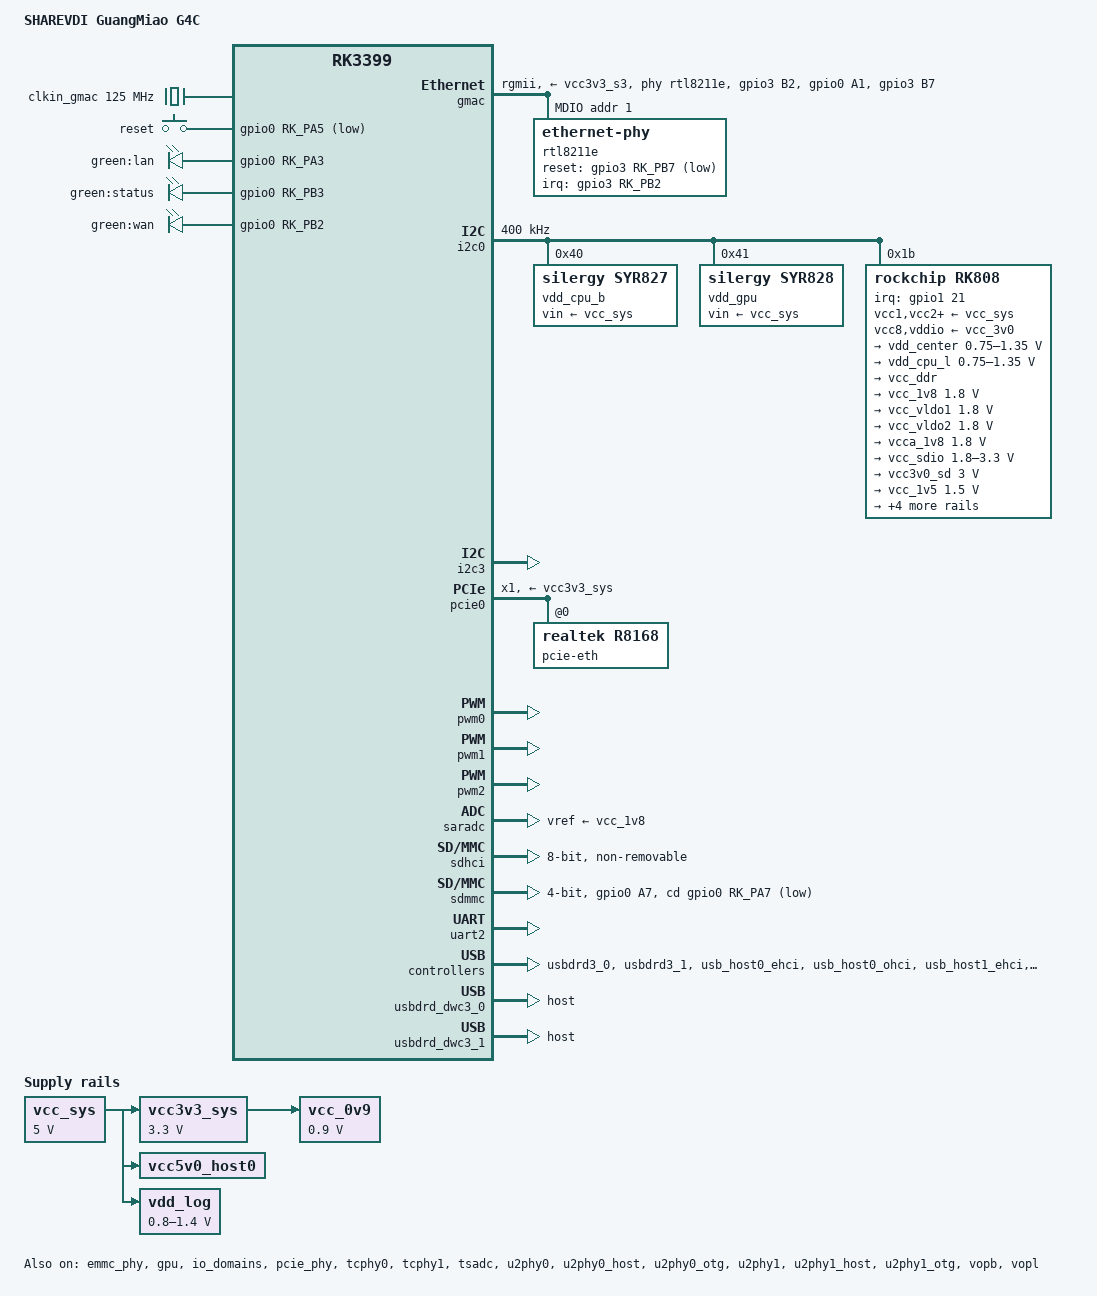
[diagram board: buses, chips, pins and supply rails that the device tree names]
// SPDX-License-Identifier: (GPL-2.0+ OR MIT)

/dts-v1/;
#include <dt-bindings/input/linux-event-codes.h>
#include "rk3399.dtsi"
#include "rk3399-opp.dtsi"

/ {
	model = "SHAREVDI GuangMiao G4C";
	compatible = "sharevdi,guangmiao-g4c", "rockchip,rk3399";

	/delete-node/ display-subsystem;

	aliases {
		led-boot = &status_led;
		led-failsafe = &status_led;
		led-running = &status_led;
		led-upgrade = &status_led;
	};

	chosen {
		stdout-path = "serial2:1500000n8";
	};

	clkin_gmac: external-gmac-clock {
		compatible = "fixed-clock";
		clock-frequency = <125000000>;
		clock-output-names = "clkin_gmac";
		#clock-cells = <0>;
	};

	vcc_sys: vcc-sys {
		compatible = "regulator-fixed";
		regulator-always-on;
		regulator-boot-on;
		regulator-min-microvolt = <5000000>;
		regulator-max-microvolt = <5000000>;
		regulator-name = "vcc_sys";
	};

	vcc3v3_sys: vcc3v3-sys {
		compatible = "regulator-fixed";
		regulator-always-on;
		regulator-boot-on;
		regulator-min-microvolt = <3300000>;
		regulator-max-microvolt = <3300000>;
		regulator-name = "vcc3v3_sys";
		vin-supply = <&vcc_sys>;
	};

	vcc_0v9: vcc-0v9 {
		compatible = "regulator-fixed";
		regulator-always-on;
		regulator-boot-on;
		regulator-min-microvolt = <900000>;
		regulator-max-microvolt = <900000>;
		regulator-name = "vcc_0v9";
		vin-supply = <&vcc3v3_sys>;
	};

	vcc5v0_host0: vcc5v0-host0 {
		compatible = "regulator-fixed";
		regulator-always-on;
		regulator-boot-on;
		regulator-name = "vcc5v0_host0";
		vin-supply = <&vcc_sys>;
	};

	vdd_log: vdd-log {
		compatible = "pwm-regulator";
		pwms = <&pwm2 0 25000 1>;
		regulator-always-on;
		regulator-boot-on;
		regulator-min-microvolt = <800000>;
		regulator-max-microvolt = <1400000>;
		regulator-name = "vdd_log";
		vin-supply = <&vcc_sys>;
	};

	gpio-keys {
		compatible = "gpio-keys";
		pinctrl-names = "default";
		pinctrl-0 = <&reset_button_pin>;

		reset {
			label = "reset";
			debounce-interval = <100>;
			gpios = <&gpio0 RK_PA5 GPIO_ACTIVE_LOW>;
			linux,code = <KEY_RESTART>;
		};
	};

	gpio-leds {
		compatible = "gpio-leds";
		pinctrl-names = "default";
		pinctrl-0 = <&lan_led_pin>, <&status_led_pin>, <&wan_led_pin>;

		lan_led: led-lan {
			gpios = <&gpio0 RK_PA3 GPIO_ACTIVE_HIGH>;
			label = "green:lan";
		};

		status_led: led-status {
			gpios = <&gpio0 RK_PB3 GPIO_ACTIVE_HIGH>;
			label = "green:status";
		};

		wan_led: led-wan {
			gpios = <&gpio0 RK_PB2 GPIO_ACTIVE_HIGH>;
			label = "green:wan";
		};
	};
};

&cpu_b0 {
	cpu-supply = <&vdd_cpu_b>;
};

&cpu_b1 {
	cpu-supply = <&vdd_cpu_b>;
};

&cpu_l0 {
	cpu-supply = <&vdd_cpu_l>;
};

&cpu_l1 {
	cpu-supply = <&vdd_cpu_l>;
};

&cpu_l2 {
	cpu-supply = <&vdd_cpu_l>;
};

&cpu_l3 {
	cpu-supply = <&vdd_cpu_l>;
};

&emmc_phy {
	status = "okay";
};

&gmac {
	assigned-clock-parents = <&clkin_gmac>;
	assigned-clocks = <&cru SCLK_RMII_SRC>;
	clock_in_out = "input";
	pinctrl-names = "default";
	pinctrl-0 = <&rgmii_pins>, <&phy_intb>, <&phy_pmeb>, <&phy_rstb>;
	phy-handle = <&rtl8211e>;
	phy-mode = "rgmii";
	phy-supply = <&vcc3v3_s3>;
	tx_delay = <0x28>;
	rx_delay = <0x11>;
	status = "okay";

	mdio {
		compatible = "snps,dwmac-mdio";
		#address-cells = <1>;
		#size-cells = <0>;

		rtl8211e: ethernet-phy@1 {
			reg = <1>;
			interrupt-parent = <&gpio3>;
			interrupts = <RK_PB2 IRQ_TYPE_LEVEL_LOW>;
			reset-assert-us = <10000>;
			reset-deassert-us = <30000>;
			reset-gpios = <&gpio3 RK_PB7 GPIO_ACTIVE_LOW>;
		};
	};
};

&gpu {
	mali-supply = <&vdd_gpu>;
	status = "okay";
};

&i2c0 {
	clock-frequency = <400000>;
	i2c-scl-rising-time-ns = <160>;
	i2c-scl-falling-time-ns = <30>;
	status = "okay";

	vdd_cpu_b: regulator@40 {
		compatible = "silergy,syr827";
		reg = <0x40>;
		fcs,suspend-voltage-selector = <1>;
		pinctrl-names = "default";
		pinctrl-0 = <&cpu_b_sleep>;
		regulator-always-on;
		regulator-boot-on;
		regulator-min-microvolt = <712500>;
		regulator-max-microvolt = <1500000>;
		regulator-name = "vdd_cpu_b";
		regulator-ramp-delay = <1000>;
		vin-supply = <&vcc_sys>;

		regulator-state-mem {
			regulator-off-in-suspend;
		};
	};

	vdd_gpu: regulator@41 {
		compatible = "silergy,syr828";
		reg = <0x41>;
		fcs,suspend-voltage-selector = <1>;
		pinctrl-names = "default";
		pinctrl-0 = <&gpu_sleep>;
		regulator-always-on;
		regulator-boot-on;
		regulator-min-microvolt = <712500>;
		regulator-max-microvolt = <1500000>;
		regulator-name = "vdd_gpu";
		regulator-ramp-delay = <1000>;
		vin-supply = <&vcc_sys>;

		regulator-state-mem {
			regulator-off-in-suspend;
		};
	};

	rk808: pmic@1b {
		compatible = "rockchip,rk808";
		reg = <0x1b>;
		clock-output-names = "rtc_clko_soc", "rtc_clko_wifi";
		#clock-cells = <1>;
		interrupt-parent = <&gpio1>;
		interrupts = <21 IRQ_TYPE_LEVEL_LOW>;
		pinctrl-names = "default";
		pinctrl-0 = <&pmic_int_l>;
		rockchip,system-power-controller;
		wakeup-source;

		vcc1-supply = <&vcc_sys>;
		vcc2-supply = <&vcc_sys>;
		vcc3-supply = <&vcc_sys>;
		vcc4-supply = <&vcc_sys>;
		vcc6-supply = <&vcc_sys>;
		vcc7-supply = <&vcc_sys>;
		vcc8-supply = <&vcc_3v0>;
		vcc9-supply = <&vcc_sys>;
		vcc10-supply = <&vcc_sys>;
		vcc11-supply = <&vcc_sys>;
		vcc12-supply = <&vcc_sys>;
		vddio-supply = <&vcc_3v0>;

		regulators {
			vdd_center: DCDC_REG1 {
				regulator-always-on;
				regulator-boot-on;
				regulator-min-microvolt = <750000>;
				regulator-max-microvolt = <1350000>;
				regulator-name = "vdd_center";
				regulator-ramp-delay = <6001>;

				regulator-state-mem {
					regulator-off-in-suspend;
				};
			};

			vdd_cpu_l: DCDC_REG2 {
				regulator-always-on;
				regulator-boot-on;
				regulator-min-microvolt = <750000>;
				regulator-max-microvolt = <1350000>;
				regulator-name = "vdd_cpu_l";
				regulator-ramp-delay = <6001>;

				regulator-state-mem {
					regulator-off-in-suspend;
				};
			};

			vcc_ddr: DCDC_REG3 {
				regulator-always-on;
				regulator-boot-on;
				regulator-name = "vcc_ddr";

				regulator-state-mem {
					regulator-on-in-suspend;
				};
			};

			vcc_1v8: DCDC_REG4 {
				regulator-always-on;
				regulator-boot-on;
				regulator-min-microvolt = <1800000>;
				regulator-max-microvolt = <1800000>;
				regulator-name = "vcc_1v8";

				regulator-state-mem {
					regulator-on-in-suspend;
					regulator-suspend-microvolt = <1800000>;
				};
			};

			vcc_vldo1: LDO_REG1 {
				regulator-always-on;
				regulator-boot-on;
				regulator-min-microvolt = <1800000>;
				regulator-max-microvolt = <1800000>;
				regulator-name = "vcc_vldo1";

				regulator-state-mem {
					regulator-off-in-suspend;
				};
			};

			vcc_vldo2: LDO_REG2 {
				regulator-always-on;
				regulator-boot-on;
				regulator-min-microvolt = <1800000>;
				regulator-max-microvolt = <1800000>;
				regulator-name = "vcc_vldo2";

				regulator-state-mem {
					regulator-off-in-suspend;
				};
			};

			vcca_1v8: LDO_REG3 {
				regulator-always-on;
				regulator-boot-on;
				regulator-min-microvolt = <1800000>;
				regulator-max-microvolt = <1800000>;
				regulator-name = "vcca_1v8";

				regulator-state-mem {
					regulator-on-in-suspend;
					regulator-suspend-microvolt = <1800000>;
				};
			};

			vcc_sdio: LDO_REG4 {
				regulator-always-on;
				regulator-boot-on;
				regulator-min-microvolt = <1800000>;
				regulator-max-microvolt = <3300000>;
				regulator-name = "vcc_sdio";

				regulator-state-mem {
					regulator-on-in-suspend;
					regulator-suspend-microvolt = <3300000>;
				};
			};

			vcc3v0_sd: LDO_REG5 {
				regulator-always-on;
				regulator-boot-on;
				regulator-min-microvolt = <3000000>;
				regulator-max-microvolt = <3000000>;
				regulator-name = "vcc3v0_sd";

				regulator-state-mem {
					regulator-on-in-suspend;
					regulator-suspend-microvolt = <3000000>;
				};
			};

			vcc_1v5: LDO_REG6 {
				regulator-always-on;
				regulator-boot-on;
				regulator-min-microvolt = <1500000>;
				regulator-max-microvolt = <1500000>;
				regulator-name = "vcc_1v5";

				regulator-state-mem {
					regulator-on-in-suspend;
					regulator-suspend-microvolt = <1500000>;
				};
			};

			vcca1v8_codec: LDO_REG7 {
				regulator-always-on;
				regulator-boot-on;
				regulator-min-microvolt = <1800000>;
				regulator-max-microvolt = <1800000>;
				regulator-name = "vcca1v8_codec";

				regulator-state-mem {
					regulator-off-in-suspend;
				};
			};

			vcc_3v0: LDO_REG8 {
				regulator-always-on;
				regulator-boot-on;
				regulator-min-microvolt = <3000000>;
				regulator-max-microvolt = <3000000>;
				regulator-name = "vcc_3v0";

				regulator-state-mem {
					regulator-on-in-suspend;
					regulator-suspend-microvolt = <3000000>;
				};
			};

			vcc3v3_s3: SWITCH_REG1 {
				regulator-always-on;
				regulator-boot-on;
				regulator-name = "vcc3v3_s3";

				regulator-state-mem {
					regulator-off-in-suspend;
				};
			};

			vcc3v3_s0: SWITCH_REG2 {
				regulator-always-on;
				regulator-boot-on;
				regulator-name = "vcc3v3_s0";

				regulator-state-mem {
					regulator-off-in-suspend;
				};
			};
		};
	};
};

&i2c3 {
	i2c-scl-rising-time-ns = <450>;
	i2c-scl-falling-time-ns = <15>;
	status = "okay";
};

&io_domains {
	bt656-supply = <&vcc_1v8>;
	audio-supply = <&vcca1v8_codec>;
	sdmmc-supply = <&vcc_sdio>;
	gpio1830-supply = <&vcc_3v0>;
	status = "okay";
};

&pcie_phy {
	assigned-clock-parents = <&cru SCLK_PCIEPHY_REF100M>;
	assigned-clock-rates = <100000000>;
	assigned-clocks = <&cru SCLK_PCIEPHY_REF>;
	status = "okay";
};

&pcie0 {
	ep-gpios = <&gpio4 RK_PD2 GPIO_ACTIVE_HIGH>;
	max-link-speed = <1>;
	num-lanes = <1>;
	pinctrl-names = "default";
	pinctrl-0 = <&pcie_clkreqnb_cpm>;
	vpcie0v9-supply = <&vcc_0v9>;
	vpcie1v8-supply = <&vcca_1v8>;
	vpcie3v3-supply = <&vcc3v3_sys>;
	status = "okay";

	pcie@0 {
		reg = <0x00000000 0 0 0 0>;
		#address-cells = <3>;
		#size-cells = <2>;

		pcie-eth@0,0 {
			compatible = "realtek,r8168";
			reg = <0x000000 0 0 0 0>;

			realtek,led-data = <0x87>;
		};
	};
};

&pinctrl {
	gpio-leds {
		lan_led_pin: lan-led-pin {
			rockchip,pins = <0 RK_PA3 RK_FUNC_GPIO &pcfg_pull_none>;
		};

		status_led_pin: status-led-pin {
			rockchip,pins = <0 RK_PB3 RK_FUNC_GPIO &pcfg_pull_none>;
		};

		wan_led_pin: wan-led-pin {
			rockchip,pins = <0 RK_PB2 RK_FUNC_GPIO &pcfg_pull_none>;
		};
	};

	gmac {
		phy_intb: phy-intb {
			rockchip,pins = <3 RK_PB2 RK_FUNC_GPIO &pcfg_pull_up>;
		};

		phy_pmeb: phy-pmeb {
			rockchip,pins = <0 RK_PA1 RK_FUNC_GPIO &pcfg_pull_up>;
		};

		phy_rstb: phy-rstb {
			rockchip,pins = <3 RK_PB7 RK_FUNC_GPIO &pcfg_pull_none>;
		};
	};

	pmic {
		cpu_b_sleep: cpu-b-sleep {
			rockchip,pins = <1 RK_PC2 RK_FUNC_GPIO &pcfg_pull_down>;
		};

		gpu_sleep: gpu-sleep {
			rockchip,pins = <1 RK_PB6 RK_FUNC_GPIO &pcfg_pull_down>;
		};

		pmic_int_l: pmic-int-l {
			rockchip,pins = <1 RK_PC5 RK_FUNC_GPIO &pcfg_pull_up>;
		};
	};

	rockchip-key {
		reset_button_pin: reset-button-pin {
			rockchip,pins = <0 RK_PA5 RK_FUNC_GPIO &pcfg_pull_up>;
		};
	};

	sdio {
		bt_reg_on_h: bt-reg-on-h {
			/* external pullup to VCC1V8_PMUPLL */
			rockchip,pins = <0 RK_PB1 RK_FUNC_GPIO &pcfg_pull_none>;
		};
	};

	sdmmc {
		sdmmc0_det_l: sdmmc0-det-l {
			rockchip,pins = <0 RK_PA7 RK_FUNC_GPIO &pcfg_pull_up>;
		};
	};
};

&pmu_io_domains {
	pmu1830-supply = <&vcc_3v0>;
	status = "okay";
};

&pwm0 {
	status = "okay";
};

&pwm1 {
	status = "okay";
};

&pwm2 {
	pinctrl-names = "active";
	pinctrl-0 = <&pwm2_pin_pull_down>;
	status = "okay";
};

&saradc {
	vref-supply = <&vcc_1v8>;
	status = "okay";
};

&sdhci {
	bus-width = <8>;
	mmc-hs200-1_8v;
	non-removable;
	status = "okay";
};

&sdmmc {
	bus-width = <4>;
	cap-mmc-highspeed;
	cap-sd-highspeed;
	cd-gpios = <&gpio0 RK_PA7 GPIO_ACTIVE_LOW>;
	disable-wp;
	pinctrl-names = "default";
	pinctrl-0 = <&sdmmc_bus4 &sdmmc_clk &sdmmc_cmd &sdmmc0_det_l>;
	vqmmc-supply = <&vcc_sdio>;
	status = "okay";
};

&tcphy0 {
	status = "okay";
};

&tcphy1 {
	status = "okay";
};

&tsadc {
	rockchip,hw-tshut-mode = <1>;
	rockchip,hw-tshut-polarity = <1>;
	status = "okay";
};

&u2phy0 {
	status = "okay";
};

&u2phy0_host {
	phy-supply = <&vcc5v0_host0>;
	status = "okay";
};

&u2phy0_otg {
	status = "okay";
};

&u2phy1 {
	status = "okay";
};

&u2phy1_host {
	phy-supply = <&vcc5v0_host0>;
	status = "okay";
};

&u2phy1_otg {
	status = "okay";
};

&uart2 {
	status = "okay";
};

&usbdrd3_0 {
	status = "okay";
};

&usbdrd3_1 {
	status = "okay";
};

&usbdrd_dwc3_0 {
	dr_mode = "host";
	status = "okay";
};

&usbdrd_dwc3_1 {
	dr_mode = "host";
	status = "okay";
};

&usb_host0_ehci {
	status = "okay";
};

&usb_host0_ohci {
	status = "okay";
};

&usb_host1_ehci {
	status = "okay";
};

&usb_host1_ohci {
	status = "okay";
};

&vopb {
	status = "okay";
};

&vopb_mmu {
	status = "okay";
};

&vopl {
	status = "okay";
};

&vopl_mmu {
	status = "okay";
};
